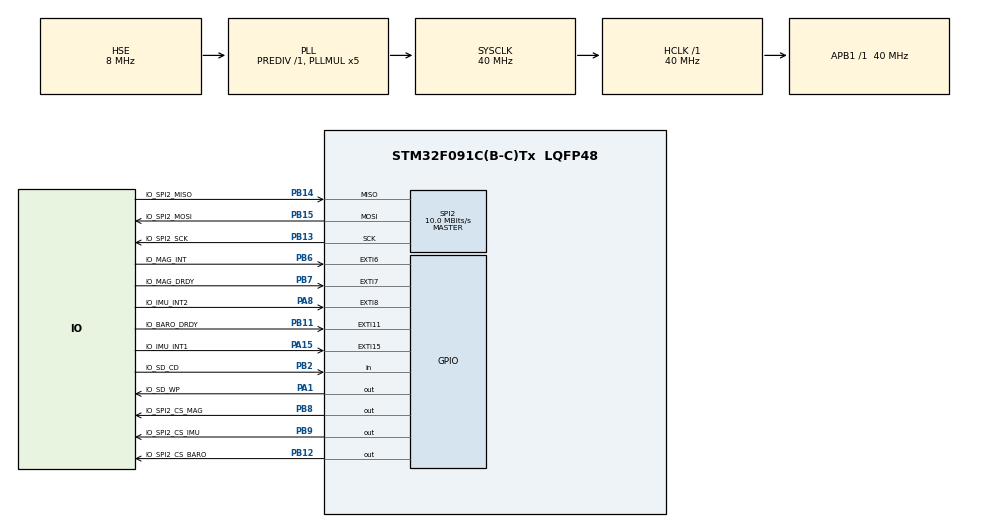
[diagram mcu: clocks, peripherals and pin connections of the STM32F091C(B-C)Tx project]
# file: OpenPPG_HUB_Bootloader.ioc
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CRC.DefaultInitValueUse=DEFAULT_INIT_VALUE_ENABLE
CRC.DefaultPolynomialUse=DEFAULT_POLYNOMIAL_ENABLE
CRC.InputDataFormat=CRC_INPUTDATA_FORMAT_WORDS
Mcu.Family=STM32F0
Mcu.Name=STM32F091C(B-C)Tx
Mcu.Package=LQFP48
PA0.GPIO_Label=IO_M4_TELEM
PA0.Signal=USART4_TX
PA1.GPIO_Label=IO_SD_WP
PA1.Signal=GPIO_Output
PA10.GPIO_Label=IO_USART1_RX
PA10.Signal=USART1_RX
PA11.GPIO_Label=IO_I2C2_SCL
PA11.Signal=I2C2_SCL
PA12.GPIO_Label=IO_I2C2_SDA
PA12.Signal=I2C2_SDA
PA13.Mode=Serial_Wire
PA13.Signal=SYS_SWDIO
PA14.Mode=Serial_Wire
PA14.Signal=SYS_SWCLK
PA15.GPIO_Label=IO_IMU_INT1
PA15.Signal=GPXTI15
PA2.GPIO_Label=IO_USART2_TX
PA2.Signal=USART2_TX
PA3.GPIO_Label=IO_USART2_RX
PA3.Signal=USART2_RX
PA4.GPIO_Label=IO_M3_TELEM
PA4.Signal=USART6_TX
PA5.GPIO_Label=IO_SPI1_SCK
PA5.Signal=SPI1_SCK
PA6.GPIO_Label=IO_M4
PA6.Signal=S_TIM3_CH1
PA7.GPIO_Label=IO_M3
PA7.Signal=S_TIM3_CH2
PA8.GPIO_Label=IO_IMU_INT2
PA8.Signal=GPXTI8
PA9.GPIO_Label=IO_USART1_TX
PA9.Signal=USART1_TX
PB0.GPIO_Label=IO_M2
PB0.Signal=S_TIM3_CH3
PB1.GPIO_Label=IO_M1
PB1.Signal=S_TIM3_CH4
PB10.GPIO_Label=IO_M2_TELEM
PB10.Signal=USART3_TX
PB11.GPIO_Label=IO_BARO_DRDY
PB11.Signal=GPXTI11
PB12.GPIO_Label=IO_SPI2_CS_BARO
PB12.PinState=GPIO_PIN_SET
PB12.Signal=GPIO_Output
PB13.GPIO_Label=IO_SPI2_SCK
PB13.Mode=Full_Duplex_Master
PB13.Signal=SPI2_SCK
PB14.GPIO_Label=IO_SPI2_MISO
PB14.Mode=Full_Duplex_Master
PB14.Signal=SPI2_MISO
PB15.GPIO_Label=IO_SPI2_MOSI
PB15.Mode=Full_Duplex_Master
PB15.Signal=SPI2_MOSI
PB2.GPIO_Label=IO_SD_CD
PB2.Signal=GPIO_Input
PB3.GPIO_Label=IO_M1_TELEM
PB3.Signal=USART5_TX
PB4.GPIO_Label=IO_SPI1_MISO
PB4.Signal=SPI1_MISO
PB5.GPIO_Label=IO_SPI1_MOSI
PB5.Signal=SPI1_MOSI
PB6.GPIO_Label=IO_MAG_INT
PB6.Signal=GPXTI6
PB7.GPIO_Label=IO_MAG_DRDY
PB7.Signal=GPXTI7
PB8.GPIO_Label=IO_SPI2_CS_MAG
PB8.PinState=GPIO_PIN_SET
PB8.Signal=GPIO_Output
PB9.GPIO_Label=IO_SPI2_CS_IMU
PB9.PinState=GPIO_PIN_SET
PB9.Signal=GPIO_Output
PC14OSC32_IN.GPIO_Label=IO_LED_STATUS
PC14OSC32_IN.Signal=GPIO_Output
PC15OSC32_OUT.GPIO_Label=IO_SD_CS
PC15OSC32_OUT.PinState=GPIO_PIN_SET
PC15OSC32_OUT.Signal=GPIO_Output
PF0-OSC_IN.Mode=HSE-External-Oscillator
PF0-OSC_IN.Signal=RCC_OSC_IN
PF1-OSC_OUT.Mode=HSE-External-Oscillator
PF1-OSC_OUT.Signal=RCC_OSC_OUT
ProjectManager.HeapSize=0x200
ProjectManager.StackSize=0x400
ProjectManager.TargetToolchain=TrueSTUDIO
RCC.AHBFreq_Value=40000000
RCC.APB1Freq_Value=40000000
RCC.APB1TimFreq_Value=40000000
RCC.HCLKFreq_Value=40000000
RCC.PLLMUL=RCC_PLL_MUL5
RCC.PLLSourceVirtual=RCC_PLLSOURCE_HSE
RCC.SYSCLKFreq_VALUE=40000000
RCC.SYSCLKSource=RCC_SYSCLKSOURCE_PLLCLK
SH.S_TIM3_CH1.0=TIM3_CH1
SH.S_TIM3_CH2.0=TIM3_CH2
SH.S_TIM3_CH3.0=TIM3_CH3
SH.S_TIM3_CH4.0=TIM3_CH4
SPI2.BaudRatePrescaler=SPI_BAUDRATEPRESCALER_4
SPI2.CLKPhase=SPI_PHASE_2EDGE
SPI2.CLKPolarity=SPI_POLARITY_HIGH
SPI2.CalculateBaudRate=10.0 MBits/s
SPI2.DataSize=SPI_DATASIZE_8BIT
SPI2.Direction=SPI_DIRECTION_2LINES
SPI2.Mode=SPI_MODE_MASTER
SPI2.VirtualType=VM_MASTER
STMicroelectronics.X-CUBE-MEMS1.5.2.1.BoardOoComponentJjMEMS.apiComponent0=Board Extension\:IKS01A2
STMicroelectronics.X-CUBE-MEMS1.5.2.1.BoardOoComponentJjMEMS.apiDoc0=Documentation/X_CUBE_MEMS1.chm
STMicroelectronics.X-CUBE-MEMS1.5.2.1.BoardOoComponentJjMEMS.cmp_version0=5.2.1
STMicroelectronics.X-CUBE-MEMS1.5.2.1.BoardOoComponentJjMEMS.cmp_version1=5.2.1
STMicroelectronics.X-CUBE-MEMS1.5.2.1.BoardOoComponentJjMEMS.component0=Board Component
STMicroelectronics.X-CUBE-MEMS1.5.2.1.BoardOoComponentJjMEMS.component1=Board Component
STMicroelectronics.X-CUBE-MEMS1.5.2.1.BoardOoComponentJjMEMS.description0=MEMS library for custom boards,LSM6DSL component driver
STMicroelectronics.X-CUBE-MEMS1.5.2.1.BoardOoComponentJjMEMS.description1=MEMS library for custom boards,LPS22HB component driver
STMicroelectronics.X-CUBE-MEMS1.5.2.1.BoardOoComponentJjMEMS.diagnostic0=This component should operate correctly.
STMicroelectronics.X-CUBE-MEMS1.5.2.1.BoardOoComponentJjMEMS.diagnostic1=This component should operate correctly.
STMicroelectronics.X-CUBE-MEMS1.5.2.1.BoardOoComponentJjMEMS.documentation0=Documentation/STMicroelectronics.X-CUBE-MEMS1_GettingStarted.pdf
STMicroelectronics.X-CUBE-MEMS1.5.2.1.BoardOoComponentJjMEMS.documentation1=Documentation/STMicroelectronics.X-CUBE-MEMS1_GettingStarted.pdf
STMicroelectronics.X-CUBE-MEMS1.5.2.1.BoardOoComponentJjMEMS.group0=AccGyr
STMicroelectronics.X-CUBE-MEMS1.5.2.1.BoardOoComponentJjMEMS.group1=PressTemp
STMicroelectronics.X-CUBE-MEMS1.5.2.1.BoardOoComponentJjMEMS.paramName0=MEMSCcBoardOoComponentJjAccGyrJjLSM6DSL
STMicroelectronics.X-CUBE-MEMS1.5.2.1.BoardOoComponentJjMEMS.paramName1=MEMSCcBoardOoComponentJjPressTempJjLPS22HB
STMicroelectronics.X-CUBE-MEMS1.5.2.1.BoardOoComponentJjMEMS.sevirity0=none
STMicroelectronics.X-CUBE-MEMS1.5.2.1.BoardOoComponentJjMEMS.sevirity1=none
STMicroelectronics.X-CUBE-MEMS1.5.2.1.BoardOoComponentJjMEMS.sub-group0=LSM6DSL
STMicroelectronics.X-CUBE-MEMS1.5.2.1.BoardOoComponentJjMEMS.sub-group1=LPS22HB
STMicroelectronics.X-CUBE-MEMS1.5.2.1.BoardOoComponentJjMEMS.variant0=SPI
STMicroelectronics.X-CUBE-MEMS1.5.2.1.BoardOoComponentJjMEMS.variant1=SPI
STMicroelectronics.X-CUBE-MEMS1.5.2.1.BoardOoComponentJjMEMS_apiSize=1
STMicroelectronics.X-CUBE-MEMS1.5.2.1.BoardOoComponentJjMEMS_bundle=MEMS
STMicroelectronics.X-CUBE-MEMS1.5.2.1.BoardOoComponentJjMEMS_class=BoardOoComponent
STMicroelectronics.X-CUBE-MEMS1.5.2.1.BoardOoComponentJjMEMS_name=X-CUBE-MEMS1
STMicroelectronics.X-CUBE-MEMS1.5.2.1.BoardOoComponentJjMEMS_size=2
STMicroelectronics.X-CUBE-MEMS1.5.2.1.BoardOoComponentJjMEMS_vendor=STMicroelectronics
STMicroelectronics.X-CUBE-MEMS1.5.2.1.BoardOoComponentJjMEMS_version=5.2.1
STMicroelectronics.X-CUBE-MEMS1.5.2.1.BoardOoSupportJjSTM32CubeIiCustomIiBSPIiDrivers.apiComponent0=Board Extension\:IKS01A2
STMicroelectronics.X-CUBE-MEMS1.5.2.1.BoardOoSupportJjSTM32CubeIiCustomIiBSPIiDrivers.apiDoc0=Documentation/X_CUBE_MEMS1.chm
STMicroelectronics.X-CUBE-MEMS1.5.2.1.BoardOoSupportJjSTM32CubeIiCustomIiBSPIiDrivers.cmp_version0=5.2.1
STMicroelectronics.X-CUBE-MEMS1.5.2.1.BoardOoSupportJjSTM32CubeIiCustomIiBSPIiDrivers.cmp_version1=5.2.1
STMicroelectronics.X-CUBE-MEMS1.5.2.1.BoardOoSupportJjSTM32CubeIiCustomIiBSPIiDrivers.component0=Board Support
STMicroelectronics.X-CUBE-MEMS1.5.2.1.BoardOoSupportJjSTM32CubeIiCustomIiBSPIiDrivers.component1=Board Support
STMicroelectronics.X-CUBE-MEMS1.5.2.1.BoardOoSupportJjSTM32CubeIiCustomIiBSPIiDrivers.description0=MEMS Board Support Package for custom boards,BSP for Motion Sensors 
STMicroelectronics.X-CUBE-MEMS1.5.2.1.BoardOoSupportJjSTM32CubeIiCustomIiBSPIiDrivers.description1=MEMS Board Support Package for custom boards,BSP for Environmental Sensors 
STMicroelectronics.X-CUBE-MEMS1.5.2.1.BoardOoSupportJjSTM32CubeIiCustomIiBSPIiDrivers.diagnostic0=This component should operate correctly.
STMicroelectronics.X-CUBE-MEMS1.5.2.1.BoardOoSupportJjSTM32CubeIiCustomIiBSPIiDrivers.diagnostic1=This component should operate correctly.
STMicroelectronics.X-CUBE-MEMS1.5.2.1.BoardOoSupportJjSTM32CubeIiCustomIiBSPIiDrivers.documentation0=Documentation/STMicroelectronics.X-CUBE-MEMS1_GettingStarted.pdf
STMicroelectronics.X-CUBE-MEMS1.5.2.1.BoardOoSupportJjSTM32CubeIiCustomIiBSPIiDrivers.documentation1=Documentation/STMicroelectronics.X-CUBE-MEMS1_GettingStarted.pdf
STMicroelectronics.X-CUBE-MEMS1.5.2.1.BoardOoSupportJjSTM32CubeIiCustomIiBSPIiDrivers.group0=Custom
STMicroelectronics.X-CUBE-MEMS1.5.2.1.BoardOoSupportJjSTM32CubeIiCustomIiBSPIiDrivers.group1=Custom
STMicroelectronics.X-CUBE-MEMS1.5.2.1.BoardOoSupportJjSTM32CubeIiCustomIiBSPIiDrivers.paramName0=STM32CubeIiCustomIiBSPIiDriversCcBoardOoSupportJjCustomJjMOTIONIiSENSOR
STMicroelectronics.X-CUBE-MEMS1.5.2.1.BoardOoSupportJjSTM32CubeIiCustomIiBSPIiDrivers.paramName1=STM32CubeIiCustomIiBSPIiDriversCcBoardOoSupportJjCustomJjENVIiSENSOR
STMicroelectronics.X-CUBE-MEMS1.5.2.1.BoardOoSupportJjSTM32CubeIiCustomIiBSPIiDrivers.sevirity0=none
STMicroelectronics.X-CUBE-MEMS1.5.2.1.BoardOoSupportJjSTM32CubeIiCustomIiBSPIiDrivers.sevirity1=none
STMicroelectronics.X-CUBE-MEMS1.5.2.1.BoardOoSupportJjSTM32CubeIiCustomIiBSPIiDrivers.sub-group0=MOTION_SENSOR
STMicroelectronics.X-CUBE-MEMS1.5.2.1.BoardOoSupportJjSTM32CubeIiCustomIiBSPIiDrivers.sub-group1=ENV_SENSOR
STMicroelectronics.X-CUBE-MEMS1.5.2.1.BoardOoSupportJjSTM32CubeIiCustomIiBSPIiDrivers_apiSize=1
STMicroelectronics.X-CUBE-MEMS1.5.2.1.BoardOoSupportJjSTM32CubeIiCustomIiBSPIiDrivers_bundle=STM32Cube_Custom_BSP_Drivers
STMicroelectronics.X-CUBE-MEMS1.5.2.1.BoardOoSupportJjSTM32CubeIiCustomIiBSPIiDrivers_class=BoardOoSupport
STMicroelectronics.X-CUBE-MEMS1.5.2.1.BoardOoSupportJjSTM32CubeIiCustomIiBSPIiDrivers_name=X-CUBE-MEMS1
STMicroelectronics.X-CUBE-MEMS1.5.2.1.BoardOoSupportJjSTM32CubeIiCustomIiBSPIiDrivers_size=2
STMicroelectronics.X-CUBE-MEMS1.5.2.1.BoardOoSupportJjSTM32CubeIiCustomIiBSPIiDrivers_vendor=STMicroelectronics
STMicroelectronics.X-CUBE-MEMS1.5.2.1.BoardOoSupportJjSTM32CubeIiCustomIiBSPIiDrivers_version=5.2.1
STMicroelectronics.X-CUBE-MEMS1.5.2.1.MEMSCcBoardOoComponentJjAccGyrJjLSM6DSL=SPI
STMicroelectronics.X-CUBE-MEMS1.5.2.1.MEMSCcBoardOoComponentJjPressTempJjLPS22HB=SPI
STMicroelectronics.X-CUBE-MEMS1.5.2.1.STM32CubeIiCustomIiBSPIiDriversCcBoardOoSupportJjCustomJjENVIiSENSOR=true
STMicroelectronics.X-CUBE-MEMS1.5.2.1.STM32CubeIiCustomIiBSPIiDriversCcBoardOoSupportJjCustomJjMOTIONIiSENSOR=true
STMicroelectronics.X-CUBE-MEMS1.5.2.1_BoardOoComponentJjMEMS_RteComponent0=\#define LSM6DSL_ACCGYR_SPI
STMicroelectronics.X-CUBE-MEMS1.5.2.1_BoardOoComponentJjMEMS_RteComponent1=\#define LPS22HB_PRESSTEMP_SPI
STMicroelectronics.X-CUBE-MEMS1.5.2.1_BoardOoComponentJjMEMS_RteComponentsize=2
STMicroelectronics.X-CUBE-MEMS1.5.2.1_BoardOoExtensionJjMEMS_RteComponentsize=0
STMicroelectronics.X-CUBE-MEMS1.5.2.1_BoardOoSupportJjSTM32CubeIiCustomIiBSPIiDrivers_RteComponent0=\#define BSP_MOTION_SENSORS
STMicroelectronics.X-CUBE-MEMS1.5.2.1_BoardOoSupportJjSTM32CubeIiCustomIiBSPIiDrivers_RteComponent1=\#define BSP_ENV_SENSORS
STMicroelectronics.X-CUBE-MEMS1.5.2.1_BoardOoSupportJjSTM32CubeIiCustomIiBSPIiDrivers_RteComponentsize=2
STMicroelectronics.X-CUBE-MEMS1.5.2.1_DeviceJjApplication_RteComponentsize=0
STMicroelectronics.X-CUBE-MEMS1.5.2.1_description=Drivers and sample applications for MEMS components
STMicroelectronics.X-CUBE-MEMS1.5.2.1_license=en.DM00367782.pdf
VP_CRC_VS_CRC.Mode=CRC_Activate
VP_FATFS_VS_Generic.Mode=User_defined
board=custom

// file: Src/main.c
/* USER CODE BEGIN Header */
/**
  ******************************************************************************
  * @file           : main.c
  * @brief          : Main program body
  ******************************************************************************
  * This notice applies to any and all portions of this file
  * that are not between comment pairs USER CODE BEGIN and
  * USER CODE END. Other portions of this file, whether
  * inserted by the user or by software development tools
  * are owned by their respective copyright owners.
  *
  * Copyright (c) 2019 STMicroelectronics International N.V.
  * All rights reserved.
  *
  * Redistribution and use in source and binary forms, with or without
  * modification, are permitted, provided that the following conditions are met:
  *
  * 1. Redistribution of source code must retain the above copyright notice,
  *    this list of conditions and the following disclaimer.
  * 2. Redistributions in binary form must reproduce the above copyright notice,
  *    this list of conditions and the following disclaimer in the documentation
  *    and/or other materials provided with the distribution.
  * 3. Neither the name of STMicroelectronics nor the names of other
  *    contributors to this software may be used to endorse or promote products
  *    derived from this software without specific written permission.
  * 4. This software, including modifications and/or derivative works of this
  *    software, must execute solely and exclusively on microcontroller or
  *    microprocessor devices manufactured by or for STMicroelectronics.
  * 5. Redistribution and use of this software other than as permitted under
  *    this license is void and will automatically terminate your rights under
  *    this license.
  *
  * THIS SOFTWARE IS PROVIDED BY STMICROELECTRONICS AND CONTRIBUTORS "AS IS"
  * AND ANY EXPRESS, IMPLIED OR STATUTORY WARRANTIES, INCLUDING, BUT NOT
  * LIMITED TO, THE IMPLIED WARRANTIES OF MERCHANTABILITY, FITNESS FOR A
  * PARTICULAR PURPOSE AND NON-INFRINGEMENT OF THIRD PARTY INTELLECTUAL PROPERTY
  * RIGHTS ARE DISCLAIMED TO THE FULLEST EXTENT PERMITTED BY LAW. IN NO EVENT
  * SHALL STMICROELECTRONICS OR CONTRIBUTORS BE LIABLE FOR ANY DIRECT, INDIRECT,
  * INCIDENTAL, SPECIAL, EXEMPLARY, OR CONSEQUENTIAL DAMAGES (INCLUDING, BUT NOT
  * LIMITED TO, PROCUREMENT OF SUBSTITUTE GOODS OR SERVICES; LOSS OF USE, DATA,
  * OR PROFITS; OR BUSINESS INTERRUPTION) HOWEVER CAUSED AND ON ANY THEORY OF
  * LIABILITY, WHETHER IN CONTRACT, STRICT LIABILITY, OR TORT (INCLUDING
  * NEGLIGENCE OR OTHERWISE) ARISING IN ANY WAY OUT OF THE USE OF THIS SOFTWARE,
  * EVEN IF ADVISED OF THE POSSIBILITY OF SUCH DAMAGE.
  *
  ******************************************************************************
  */
/* USER CODE END Header */

#include "main.h"
#include "crc.h"
#include "fatfs.h"
#include "spi.h"
#include "gpio.h"

/* USER CODE BEGIN Includes */
#include "command.h"
#include "flash_if.h"
#include "sd_driver.h"
/* USER CODE END Includes */

/* USER CODE BEGIN PV */
__attribute__((__section__(".user_data"))) const STR_CONFIG paramSpace;
STR_CONFIG parameters;

pFunction   JumpToApplication;
uint32_t    JumpAddress;

const TCHAR UpdateFile[] = "HUB.bin";

/* USER CODE END PV */

void SystemClock_Config(void);
/* USER CODE BEGIN PFP */
static void RunApplication(void);
static FRESULT Card_Unlink(void);
/* USER CODE END PFP */

int boot_main(void)
{
  /* USER CODE BEGIN 1 */
	//RunApplication();
  /* USER CODE END 1 */

  /* MCU Configuration--------------------------------------------------------*/

  /* Reset of all peripherals, Initializes the Flash interface and the Systick. */
  HAL_Init();

  /* Configure the system clock */
  SystemClock_Config();

  /* USER CODE BEGIN SysInit */
  FLASH_If_Init();
  //flashInit();
  /* USER CODE END SysInit */

  /* Initialize all configured peripherals */
  MX_GPIO_Init();
  MX_FATFS_Init();
  MX_SPI2_Init();
  MX_CRC_Init();
  /* USER CODE BEGIN 2 */
	FRESULT fatfsStatus = 0;
	/*##-1- Link the micro SD disk I/O driver ##################################*/
	if(retUSER == 0)
	{
		/*##-2- Register the file system object to the FatFs module ##############*/
		fatfsStatus = f_mount(&USERFatFS, (TCHAR const*)USERPath, 0);
	}
	else
		fatfsStatus = retUSER;

	//f_mkfs((TCHAR const*)USERPath, 0, 0);
	//SD_CardInfo cardInfo;
	//BSP_SD_GetCardInfo(&cardInfo);

	if(fatfsStatus == FR_OK)
	{
		if ((fatfsStatus = f_open(&USERFile, UpdateFile, FA_READ)) != FR_OK)
		{
			//File open error
			RunApplication();
		}
		else if (COMMAND_DOWNLOAD() != DOWNLOAD_OK)
		{
			// Flash download error
		}
		else
		{
			/* Close the open text file */
			if (f_close(&USERFile) != FR_OK )
				fatfsStatus = FR_NO_FILE;
			else
				fatfsStatus = f_unlink(UpdateFile);
			//Flash complete
			RunApplication();
		}
  }

  /* USER CODE END 2 */

  /* Infinite loop */
  while (1)
  {

    /* USER CODE BEGIN 3 */
	uint32_t currentTime = HAL_GetTick();
	  static uint32_t lastTime = 0;
	  if(currentTime - lastTime > 1000)
	  {
		  STATUS_LED_TOGGLE;
		  lastTime = currentTime;
	  }

  }
  /* USER CODE END 3 */
}

void SystemClock_Config(void)
{
  RCC_OscInitTypeDef RCC_OscInitStruct = {0};
  RCC_ClkInitTypeDef RCC_ClkInitStruct = {0};

  /**Initializes the CPU, AHB and APB busses clocks
  */
  RCC_OscInitStruct.OscillatorType = RCC_OSCILLATORTYPE_HSE;
  RCC_OscInitStruct.HSEState = RCC_HSE_ON;
  RCC_OscInitStruct.PLL.PLLState = RCC_PLL_ON;
  RCC_OscInitStruct.PLL.PLLSource = RCC_PLLSOURCE_HSE;
  RCC_OscInitStruct.PLL.PLLMUL = RCC_PLL_MUL5;
  RCC_OscInitStruct.PLL.PREDIV = RCC_PREDIV_DIV1;
  if (HAL_RCC_OscConfig(&RCC_OscInitStruct) != HAL_OK)
  {
    Error_Handler();
  }
  /**Initializes the CPU, AHB and APB busses clocks
  */
  RCC_ClkInitStruct.ClockType = RCC_CLOCKTYPE_HCLK|RCC_CLOCKTYPE_SYSCLK
                              |RCC_CLOCKTYPE_PCLK1;
  RCC_ClkInitStruct.SYSCLKSource = RCC_SYSCLKSOURCE_PLLCLK;
  RCC_ClkInitStruct.AHBCLKDivider = RCC_SYSCLK_DIV1;
  RCC_ClkInitStruct.APB1CLKDivider = RCC_HCLK_DIV1;

  if (HAL_RCC_ClockConfig(&RCC_ClkInitStruct, FLASH_LATENCY_1) != HAL_OK)
  {
    Error_Handler();
  }
}

/* USER CODE BEGIN 4 */
/**
  * @brief  This function runs a previously loaded application
  * @param  None
  * @retval None
  */
void RunApplication(void)
{

	uint32_t calcCrc = HAL_CRC_Calculate(&hcrc, (uint32_t*)APPLICATION_ADDRESS, (USER_FLASH_SIZE-4)/4);
	uint32_t appCrc = (*(__IO uint32_t*)(APPLICATION_ADDRESS+USER_FLASH_SIZE-4));

	//if crc's dont match, or it is set to 0xF0F0F0F0 (default value set by debug application, dont run application
	if(calcCrc != appCrc && appCrc != 0xF0F0F0F0)
		return;

  /* Test if user code is programmed starting from address "APPLICATION_ADDRESS" */
  if (((*(__IO uint32_t*)APPLICATION_ADDRESS) & 0x2FFE0000 ) == 0x20000000)
  {

    /*  Error message */

    /* Jump to user application */
    JumpAddress = *(__IO uint32_t*) (APPLICATION_ADDRESS + 4);
    JumpToApplication = (pFunction) JumpAddress;
    /* Initialize user application's Stack Pointer */
#if   (defined ( __GNUC__ ))
    /* Compensation as the Stack Pointer is placed at the very end of RAM */
    __set_MSP((*(__IO uint32_t*) APPLICATION_ADDRESS) - 64);
#else  /* (defined  (__GNUC__ )) */
    __set_MSP(*(__IO uint32_t*) APPLICATION_ADDRESS);
#endif /* (defined  (__GNUC__ )) */

    JumpToApplication();
  }
  else
  {
    /*  Error message */

  }
}

FRESULT Card_Unlink(void)
{
	FRESULT res = FR_OK;

  /* Close the open text file */
  if (f_close(&USERFile) != FR_OK )
  {
    res = FR_NO_FILE;
  }

  /* Unlink the RAM disk I/O driver */
  FATFS_UnLinkDriver(USERPath);

  return res;
}
/* USER CODE END 4 */

void Error_Handler(void)
{
}

/************************ (C) COPYRIGHT STMicroelectronics *****END OF FILE****/
